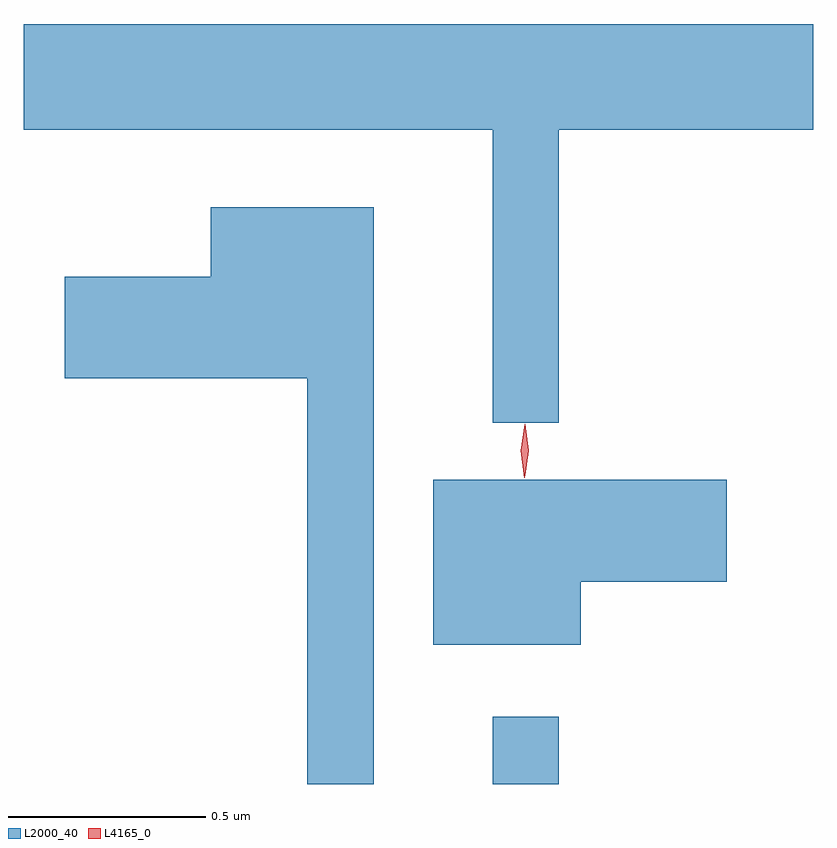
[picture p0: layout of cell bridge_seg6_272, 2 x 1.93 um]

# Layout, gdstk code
import gdstk
lib = gdstk.Library(unit=1e-6, precision=1e-09)
def R(c, l, rs):  # rectangles x0, y0, x1, y1
    for r in rs: c.add(gdstk.rectangle(r[:2], r[2:], *l))
def P(c, l, *ps):  # polygons
    for p in ps: c.add(gdstk.Polygon(p, *l))
L2000_40 = (2000, 40)
L4165_0 = (4165, 0)

bridge_seg6_272 = lib.new_cell('bridge_seg6_272')
R(bridge_seg6_272, L2000_40, [(1245.351,1597.218,1245.519,1597.388)])
P(bridge_seg6_272, L2000_40, [(1244.163,1598.876),(1245.351,1598.876),(1245.351,1598.133),(1245.519,1598.133),(1245.519,1598.876),(1246.163,1598.876),(1246.163,1599.144),(1244.163,1599.144)],
  [(1245.049,1598.679),(1244.636,1598.679),(1244.636,1598.504),(1244.266,1598.504),(1244.266,1598.246),(1244.881,1598.246),(1244.881,1597.218),(1245.049,1597.218)],
  [(1245.574,1597.731),(1245.944,1597.731),(1245.944,1597.989),(1245.201,1597.989),(1245.201,1597.571),(1245.574,1597.571)])
P(bridge_seg6_272, L4165_0, [(1245.433,1598),(1245.432,1598.001),(1245.423,1598.064),(1245.432,1598.126),(1245.433,1598.127),(1245.434,1598.126),(1245.443,1598.064),(1245.434,1598.001)],
  [(1245.431,1597.994),(1245.431,1597.994),(1245.422,1598.062),(1245.432,1598.13),(1245.433,1598.13),(1245.434,1598.13),(1245.442,1598.062),(1245.432,1597.994)])

lib.write_gds('bridge_seg6_272.gds')
